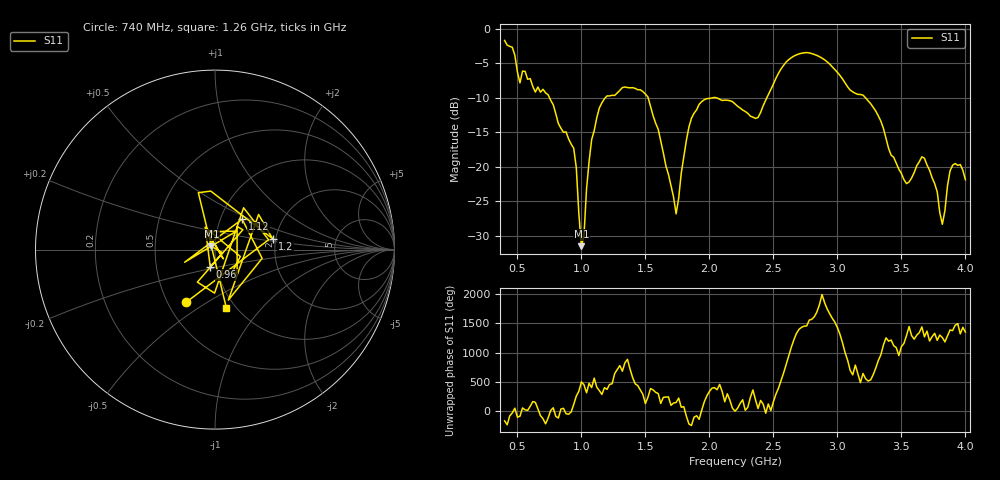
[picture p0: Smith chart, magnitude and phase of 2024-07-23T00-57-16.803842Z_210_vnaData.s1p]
!Created with skrf (http://scikit-rf.org).
# Hz S RI R 50.0
!freq ReS11 ImS11
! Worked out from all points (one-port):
!   181 points, 400 MHz to 4 GHz, reference 50 ohm
!   lowest |S11| = -31.5 dB at 1 GHz (marker M1), VSWR 1.05, Z = 48 + j1.7 ohm
!   |S11| at or under -10 dB: 751.1 MHz to 1.186 GHz (434.8 MHz wide, 44.9 % of centre); 1.522 GHz to 2.024 GHz (502.7 MHz wide, 28.4 % of centre); 3.22 GHz to end of sweep (the widest 3 of 4)
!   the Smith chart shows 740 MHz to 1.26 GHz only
!   S11 on the Smith chart (normalised r, x): 740 MHz: 0.62, -0.41; 960 MHz: 0.93, -0.18; 1.12 GHz: 1.27, +0.45; 1.2 GHz: 1.92, +0.26; 1.26 GHz: 0.91, -0.66
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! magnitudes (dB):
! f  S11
! 400 MHz  -1.7
! 520 MHz  -7.8
! 740 MHz  -9.6
! 860 MHz  -15.0
! 960 MHz  -20.1
! 1 GHz  -31.5
! 1.02 GHz  -30.0
! 1.08 GHz  -16.1
! 1.12 GHz  -12.9
! 1.2 GHz  -9.7
! 1.26 GHz  -9.6
! 1.3 GHz  -8.9
! 1.52 GHz  -9.9
! 1.74 GHz  -26.8
! 1.76 GHz  -24.5
! 1.84 GHz  -14.2
! 1.92 GHz  -10.9
! 2.2 GHz  -10.9
! 2.38 GHz  -12.8
! 2.66 GHz  -3.9
! 2.88 GHz  -4.2
! 3.1 GHz  -8.9
! 3.3 GHz  -11.9
! 3.56 GHz  -22.2
! 3.68 GHz  -18.7
! 3.82 GHz  -28.3
! 3.9 GHz  -19.8
! 4 GHz  -21.8
